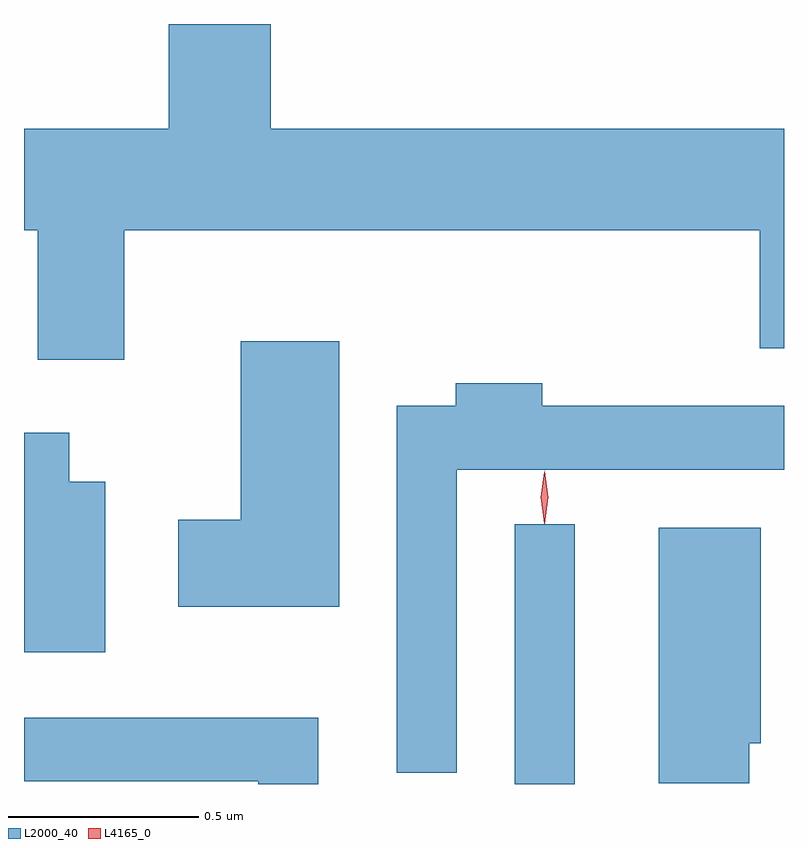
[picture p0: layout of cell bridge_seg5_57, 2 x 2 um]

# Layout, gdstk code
import gdstk
lib = gdstk.Library(unit=1e-6, precision=1e-09)
def R(c, l, rs):  # rectangles x0, y0, x1, y1
    for r in rs: c.add(gdstk.rectangle(r[:2], r[2:], *l))
def P(c, l, *ps):  # polygons
    for p in ps: c.add(gdstk.Polygon(p, *l))
L2000_40 = (2000, 40)
L4165_0 = (4165, 0)

bridge_seg5_57 = lib.new_cell('bridge_seg5_57')
R(bridge_seg5_57, L2000_40, [(1334.866,1475.319,1335.024,1476.003)])
P(bridge_seg5_57, L2000_40, [(1333.575,1476.776),(1333.611,1476.776),(1333.611,1476.436),(1333.839,1476.436),(1333.839,1476.776),(1335.511,1476.776),(1335.511,1476.466),(1335.575,1476.466),(1335.575,1477.044),(1334.224,1477.044),(1334.224,1477.319),(1333.956,1477.319),(1333.956,1477.044),(1333.575,1477.044)],
  [(1334.404,1476.484),(1334.146,1476.484),(1334.146,1476.014),(1333.981,1476.014),(1333.981,1475.786),(1334.404,1475.786)],
  [(1334.714,1476.146),(1335.575,1476.146),(1335.575,1476.314),(1334.939,1476.314),(1334.939,1476.374),(1334.711,1476.374),(1334.711,1476.314),(1334.556,1476.314),(1334.556,1475.348),(1334.714,1475.348)],
  [(1333.789,1476.114),(1333.694,1476.114),(1333.694,1476.244),(1333.575,1476.244),(1333.575,1475.666),(1333.789,1475.666)],
  [(1335.484,1475.426),(1335.514,1475.426),(1335.514,1475.994),(1335.246,1475.994),(1335.246,1475.321),(1335.484,1475.321)],
  [(1334.349,1475.494),(1333.575,1475.494),(1333.575,1475.326),(1334.191,1475.326),(1334.191,1475.319),(1334.349,1475.319)])
P(bridge_seg5_57, L4165_0, [(1334.944,1476.004),(1334.936,1476.073),(1334.945,1476.142),(1334.946,1476.143),(1334.946,1476.142),(1334.955,1476.073),(1334.946,1476.004),(1334.945,1476.004)],
  [(1334.944,1476.007),(1334.935,1476.074),(1334.944,1476.14),(1334.945,1476.141),(1334.946,1476.14),(1334.955,1476.074),(1334.946,1476.007),(1334.945,1476.007)])

lib.write_gds('bridge_seg5_57.gds')
